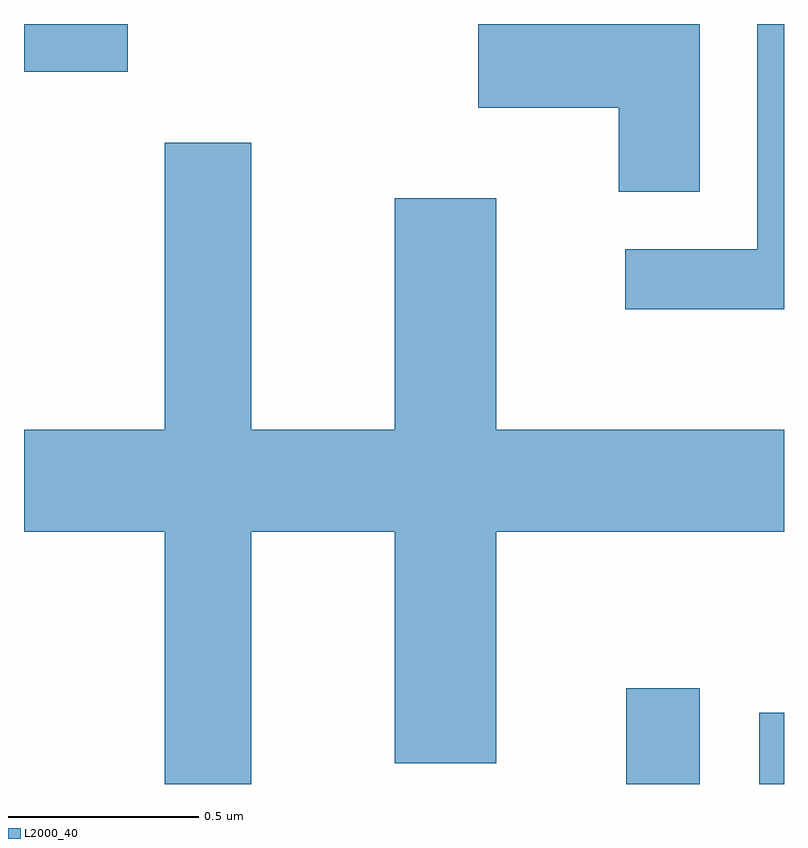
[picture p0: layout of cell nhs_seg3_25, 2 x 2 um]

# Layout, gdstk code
import gdstk
lib = gdstk.Library(unit=1e-6, precision=1e-09)
def R(c, l, rs):  # rectangles x0, y0, x1, y1
    for r in rs: c.add(gdstk.rectangle(r[:2], r[2:], *l))
def P(c, l, *ps):  # polygons
    for p in ps: c.add(gdstk.Polygon(p, *l))
L2000_40 = (2000, 40)

nhs_seg3_25 = lib.new_cell('nhs_seg3_25')
R(nhs_seg3_25, L2000_40, [(187.196,1140.892,187.389,1141.144), (187.546,1140.892,187.611,1141.079), (185.611,1142.766,185.884,1142.892)])
P(nhs_seg3_25, L2000_40, [(187.389,1142.892),(186.806,1142.892),(186.806,1142.671),(187.176,1142.671),(187.176,1142.451),(187.389,1142.451)],
  [(187.611,1142.892),(187.541,1142.892),(187.541,1142.299),(187.193,1142.299),(187.193,1142.141),(187.611,1142.141)],
  [(186.209,1141.556),(186.586,1141.556),(186.586,1140.946),(186.854,1140.946),(186.854,1141.556),(187.611,1141.556),(187.611,1141.824),(186.854,1141.824),(186.854,1142.434),(186.586,1142.434),(186.586,1141.824),(186.209,1141.824),(186.209,1142.579),(185.981,1142.579),(185.981,1141.824),(185.611,1141.824),(185.611,1141.556),(185.981,1141.556),(185.981,1140.892),(186.209,1140.892)])

lib.write_gds('nhs_seg3_25.gds')
